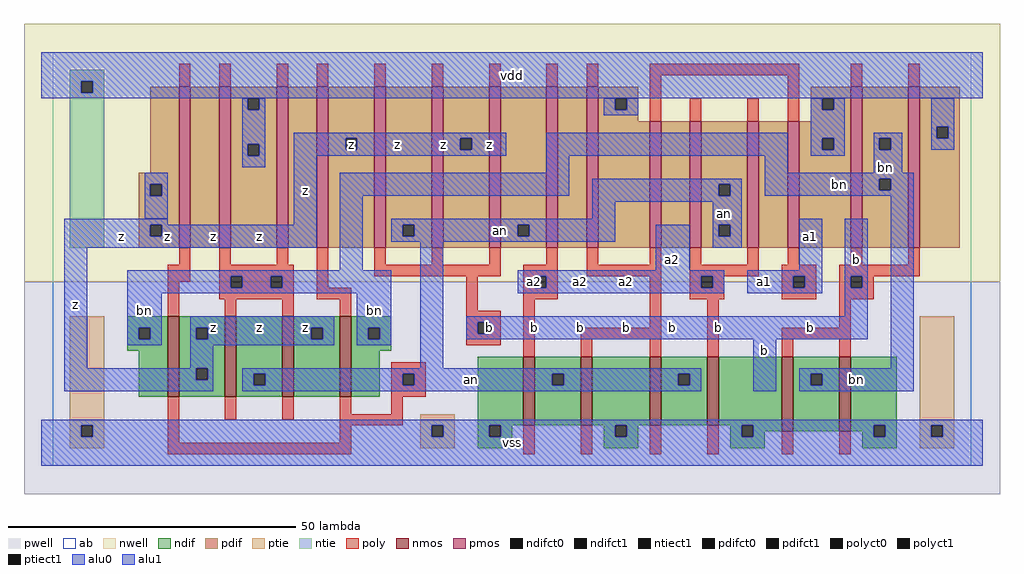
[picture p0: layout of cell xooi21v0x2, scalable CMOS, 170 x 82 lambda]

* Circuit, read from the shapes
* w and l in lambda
.subckt xooi21v0x2 a1 a2 an b bn vdd vss z
M1 z an bn vss nfet w=14 l=2 m=2
M2 an bn z vss nfet w=14 l=2 m=2
M3 an a2 vss vss nfet w=12 l=2 m=2
M4 vss a1 an vss nfet w=12 l=2 m=2
M5 bn b vss vss nfet w=13 l=2 m=2
M6 n1 an z vdd pfet w=28 l=2
M7 vdd bn n1 vdd pfet w=28 l=2
M8 n2 bn vdd vdd pfet w=28 l=2
M9 z an n2 vdd pfet w=28 l=2
M10 an b z vdd pfet w=28 l=2 m=3
M11 n3 a2 an vdd pfet w=28 l=2
M12 vdd a1 n3 vdd pfet w=28 l=2
M13 n4 a1 vdd vdd pfet w=22 l=2
M14 an a2 n4 vdd pfet w=22 l=2
M15 n5 a2 an vdd pfet w=22 l=2
M16 vdd a1 n5 vdd pfet w=22 l=2
M17 bn b vdd vdd pfet w=28 l=2 m=2
.ends

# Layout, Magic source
magic
tech scmos
<< ab >>
rect 0 0 160 72
<< nwell >>
rect -5 32 165 77
<< pwell >>
rect -5 -5 165 32
<< poly >>
rect 22 66 24 70
rect 29 66 31 70
rect 39 66 41 70
rect 46 66 48 70
rect 56 66 58 70
rect 66 66 68 70
rect 76 66 78 70
rect 86 66 88 70
rect 93 66 95 70
rect 104 68 130 70
rect 104 60 106 68
rect 111 60 113 64
rect 121 60 123 64
rect 128 60 130 68
rect 139 66 141 70
rect 149 66 151 70
rect 22 35 24 38
rect 20 32 24 35
rect 29 35 31 38
rect 39 35 41 38
rect 29 33 42 35
rect 20 26 22 32
rect 29 31 31 33
rect 33 31 38 33
rect 40 31 42 33
rect 29 29 42 31
rect 46 31 48 38
rect 56 35 58 38
rect 66 35 68 38
rect 76 35 78 38
rect 86 35 88 38
rect 56 33 78 35
rect 82 33 88 35
rect 93 35 95 38
rect 104 35 106 38
rect 93 33 106 35
rect 46 29 52 31
rect 30 26 32 29
rect 40 26 42 29
rect 50 26 52 29
rect 72 27 74 33
rect 82 31 84 33
rect 86 31 88 33
rect 82 29 88 31
rect 72 25 78 27
rect 72 23 74 25
rect 76 23 78 25
rect 72 21 78 23
rect 82 19 84 29
rect 104 24 106 33
rect 111 35 113 38
rect 121 35 123 38
rect 128 35 130 38
rect 139 35 141 38
rect 149 35 151 38
rect 111 33 123 35
rect 127 33 133 35
rect 111 31 113 33
rect 115 31 117 33
rect 111 29 117 31
rect 127 31 129 33
rect 131 31 133 33
rect 127 29 133 31
rect 137 33 151 35
rect 137 31 139 33
rect 141 31 143 33
rect 137 29 143 31
rect 92 22 106 24
rect 92 19 94 22
rect 104 19 106 22
rect 114 19 116 29
rect 137 24 139 29
rect 127 22 139 24
rect 127 19 129 22
rect 137 19 139 22
rect 59 16 65 18
rect 59 14 61 16
rect 63 14 65 16
rect 59 12 65 14
rect 20 4 22 12
rect 30 8 32 12
rect 40 8 42 12
rect 50 9 52 12
rect 59 9 61 12
rect 50 7 61 9
rect 50 4 52 7
rect 20 2 52 4
rect 82 2 84 7
rect 92 2 94 7
rect 104 2 106 7
rect 114 2 116 7
rect 127 2 129 6
rect 137 2 139 6
<< ndif >>
rect 13 24 20 26
rect 13 22 15 24
rect 17 22 20 24
rect 13 20 20 22
rect 15 12 20 20
rect 22 24 30 26
rect 22 22 25 24
rect 27 22 30 24
rect 22 17 30 22
rect 22 15 25 17
rect 27 15 30 17
rect 22 12 30 15
rect 32 16 40 26
rect 32 14 35 16
rect 37 14 40 16
rect 32 12 40 14
rect 42 24 50 26
rect 42 22 45 24
rect 47 22 50 24
rect 42 12 50 22
rect 52 24 59 26
rect 52 22 55 24
rect 57 22 59 24
rect 52 20 59 22
rect 52 12 57 20
rect 74 7 82 19
rect 84 16 92 19
rect 84 14 87 16
rect 89 14 92 16
rect 84 7 92 14
rect 94 7 104 19
rect 106 16 114 19
rect 106 14 109 16
rect 111 14 114 16
rect 106 7 114 14
rect 116 7 127 19
rect 74 5 76 7
rect 78 5 80 7
rect 74 3 80 5
rect 96 5 98 7
rect 100 5 102 7
rect 96 3 102 5
rect 118 5 120 7
rect 122 6 127 7
rect 129 16 137 19
rect 129 14 132 16
rect 134 14 137 16
rect 129 6 137 14
rect 139 7 147 19
rect 139 6 143 7
rect 122 5 124 6
rect 118 3 124 5
rect 141 5 143 6
rect 145 5 147 7
rect 141 3 147 5
<< pdif >>
rect 17 51 22 66
rect 15 49 22 51
rect 15 47 17 49
rect 19 47 22 49
rect 15 42 22 47
rect 15 40 17 42
rect 19 40 22 42
rect 15 38 22 40
rect 24 38 29 66
rect 31 64 39 66
rect 31 62 34 64
rect 36 62 39 64
rect 31 56 39 62
rect 31 54 34 56
rect 36 54 39 56
rect 31 38 39 54
rect 41 38 46 66
rect 48 57 56 66
rect 48 55 51 57
rect 53 55 56 57
rect 48 38 56 55
rect 58 42 66 66
rect 58 40 61 42
rect 63 40 66 42
rect 58 38 66 40
rect 68 57 76 66
rect 68 55 71 57
rect 73 55 76 57
rect 68 38 76 55
rect 78 42 86 66
rect 78 40 81 42
rect 83 40 86 42
rect 78 38 86 40
rect 88 38 93 66
rect 95 64 102 66
rect 95 62 98 64
rect 100 62 102 64
rect 95 60 102 62
rect 132 64 139 66
rect 132 62 134 64
rect 136 62 139 64
rect 132 60 139 62
rect 95 38 104 60
rect 106 38 111 60
rect 113 49 121 60
rect 113 47 116 49
rect 118 47 121 49
rect 113 42 121 47
rect 113 40 116 42
rect 118 40 121 42
rect 113 38 121 40
rect 123 38 128 60
rect 130 57 139 60
rect 130 55 134 57
rect 136 55 139 57
rect 130 38 139 55
rect 141 57 149 66
rect 141 55 144 57
rect 146 55 149 57
rect 141 50 149 55
rect 141 48 144 50
rect 146 48 149 50
rect 141 38 149 48
rect 151 59 158 66
rect 151 57 154 59
rect 156 57 158 59
rect 151 38 158 57
<< alu1 >>
rect -2 67 162 72
rect -2 65 5 67
rect 7 65 162 67
rect -2 64 162 65
rect 42 57 79 58
rect 42 55 51 57
rect 53 55 71 57
rect 73 55 79 57
rect 42 54 79 55
rect 2 42 20 43
rect 42 42 46 54
rect 2 40 17 42
rect 19 40 46 42
rect 2 38 46 40
rect 2 17 6 38
rect 24 24 49 26
rect 24 22 25 24
rect 27 22 45 24
rect 47 22 49 24
rect 24 21 49 22
rect 24 17 28 21
rect 105 34 111 42
rect 130 34 134 43
rect 81 33 117 34
rect 81 31 84 33
rect 86 31 113 33
rect 115 31 117 33
rect 81 30 117 31
rect 121 33 134 34
rect 121 31 129 33
rect 131 31 134 33
rect 121 30 134 31
rect 138 33 142 43
rect 138 31 139 33
rect 141 31 142 33
rect 138 26 142 31
rect 72 25 142 26
rect 72 23 74 25
rect 76 23 142 25
rect 72 22 142 23
rect 2 15 25 17
rect 27 15 28 17
rect 2 13 28 15
rect 122 13 126 22
rect -2 7 162 8
rect -2 5 5 7
rect 7 5 66 7
rect 68 5 76 7
rect 78 5 98 7
rect 100 5 120 7
rect 122 5 143 7
rect 145 5 153 7
rect 155 5 162 7
rect -2 0 162 5
<< ptie >>
rect 3 7 9 26
rect 3 5 5 7
rect 7 5 9 7
rect 3 3 9 5
rect 64 7 70 9
rect 64 5 66 7
rect 68 5 70 7
rect 64 3 70 5
rect 151 7 157 26
rect 151 5 153 7
rect 155 5 157 7
rect 151 3 157 5
<< ntie >>
rect 3 67 9 69
rect 3 65 5 67
rect 7 65 9 67
rect 3 38 9 65
<< nmos >>
rect 20 12 22 26
rect 30 12 32 26
rect 40 12 42 26
rect 50 12 52 26
rect 82 7 84 19
rect 92 7 94 19
rect 104 7 106 19
rect 114 7 116 19
rect 127 6 129 19
rect 137 6 139 19
<< pmos >>
rect 22 38 24 66
rect 29 38 31 66
rect 39 38 41 66
rect 46 38 48 66
rect 56 38 58 66
rect 66 38 68 66
rect 76 38 78 66
rect 86 38 88 66
rect 93 38 95 66
rect 104 38 106 60
rect 111 38 113 60
rect 121 38 123 60
rect 128 38 130 60
rect 139 38 141 66
rect 149 38 151 66
<< polyct0 >>
rect 31 31 33 33
rect 38 31 40 33
rect 61 14 63 16
<< polyct1 >>
rect 84 31 86 33
rect 74 23 76 25
rect 113 31 115 33
rect 129 31 131 33
rect 139 31 141 33
<< ndifct0 >>
rect 15 22 17 24
rect 35 14 37 16
rect 55 22 57 24
rect 87 14 89 16
rect 109 14 111 16
rect 132 14 134 16
<< ndifct1 >>
rect 25 22 27 24
rect 25 15 27 17
rect 45 22 47 24
rect 76 5 78 7
rect 98 5 100 7
rect 120 5 122 7
rect 143 5 145 7
<< ntiect1 >>
rect 5 65 7 67
<< ptiect1 >>
rect 5 5 7 7
rect 66 5 68 7
rect 153 5 155 7
<< pdifct0 >>
rect 17 47 19 49
rect 34 62 36 64
rect 34 54 36 56
rect 61 40 63 42
rect 81 40 83 42
rect 98 62 100 64
rect 134 62 136 64
rect 116 47 118 49
rect 116 40 118 42
rect 134 55 136 57
rect 144 55 146 57
rect 144 48 146 50
rect 154 57 156 59
<< pdifct1 >>
rect 17 40 19 42
rect 51 55 53 57
rect 71 55 73 57
<< alu0 >>
rect 33 62 34 64
rect 36 62 37 64
rect 33 56 37 62
rect 96 62 98 64
rect 100 62 102 64
rect 96 61 102 62
rect 132 62 134 64
rect 136 62 138 64
rect 33 54 34 56
rect 36 54 37 56
rect 33 52 37 54
rect 86 54 128 58
rect 132 57 138 62
rect 153 59 157 64
rect 132 55 134 57
rect 136 55 138 57
rect 132 54 138 55
rect 143 57 148 58
rect 143 55 144 57
rect 146 55 148 57
rect 153 57 154 59
rect 156 57 157 59
rect 153 55 157 57
rect 16 49 20 51
rect 16 47 17 49
rect 19 47 20 49
rect 16 43 20 47
rect 86 51 90 54
rect 50 47 90 51
rect 124 51 128 54
rect 143 51 148 55
rect 124 50 150 51
rect 94 49 120 50
rect 94 47 116 49
rect 118 47 120 49
rect 124 48 144 50
rect 146 48 150 50
rect 124 47 150 48
rect 50 34 54 47
rect 94 46 120 47
rect 94 43 98 46
rect 59 42 98 43
rect 115 42 120 46
rect 59 40 61 42
rect 63 40 81 42
rect 83 40 98 42
rect 59 39 98 40
rect 13 33 59 34
rect 13 31 31 33
rect 33 31 38 33
rect 40 31 59 33
rect 13 30 59 31
rect 13 24 19 30
rect 13 22 15 24
rect 17 22 19 24
rect 13 21 19 22
rect 53 24 59 30
rect 53 22 55 24
rect 57 22 59 24
rect 53 21 59 22
rect 64 17 68 39
rect 115 40 116 42
rect 118 40 120 42
rect 115 38 120 40
rect 33 16 113 17
rect 33 14 35 16
rect 37 14 61 16
rect 63 14 87 16
rect 89 14 109 16
rect 111 14 113 16
rect 33 13 113 14
rect 146 17 150 47
rect 130 16 150 17
rect 130 14 132 16
rect 134 14 150 16
rect 130 13 150 14
<< labels >>
rlabel alu0 16 27 16 27 6 bn
rlabel alu0 56 27 56 27 6 bn
rlabel alu0 73 15 73 15 6 an
rlabel alu0 78 41 78 41 6 an
rlabel alu0 140 15 140 15 6 bn
rlabel alu0 117 44 117 44 6 an
rlabel alu0 137 49 137 49 6 bn
rlabel alu0 145 52 145 52 6 bn
rlabel alu1 4 28 4 28 6 z
rlabel alu1 12 40 12 40 6 z
rlabel alu1 20 40 20 40 6 z
rlabel alu1 28 24 28 24 6 z
rlabel alu1 36 24 36 24 6 z
rlabel alu1 44 24 44 24 6 z
rlabel alu1 28 40 28 40 6 z
rlabel alu1 36 40 36 40 6 z
rlabel alu1 44 48 44 48 6 z
rlabel pdifct1 52 56 52 56 6 z
rlabel alu1 60 56 60 56 6 z
rlabel alu1 80 4 80 4 6 vss
rlabel alu1 76 24 76 24 6 b
rlabel alu1 84 24 84 24 6 b
rlabel alu1 92 24 92 24 6 b
rlabel alu1 84 32 84 32 6 a2
rlabel alu1 92 32 92 32 6 a2
rlabel alu1 68 56 68 56 6 z
rlabel alu1 76 56 76 56 6 z
rlabel alu1 80 68 80 68 6 vdd
rlabel alu1 100 24 100 24 6 b
rlabel alu1 108 24 108 24 6 b
rlabel alu1 116 24 116 24 6 b
rlabel alu1 124 20 124 20 6 b
rlabel alu1 124 32 124 32 6 a1
rlabel alu1 100 32 100 32 6 a2
rlabel alu1 108 36 108 36 6 a2
rlabel alu1 132 24 132 24 6 b
rlabel alu1 132 40 132 40 6 a1
rlabel alu1 140 36 140 36 6 b
<< end >>
